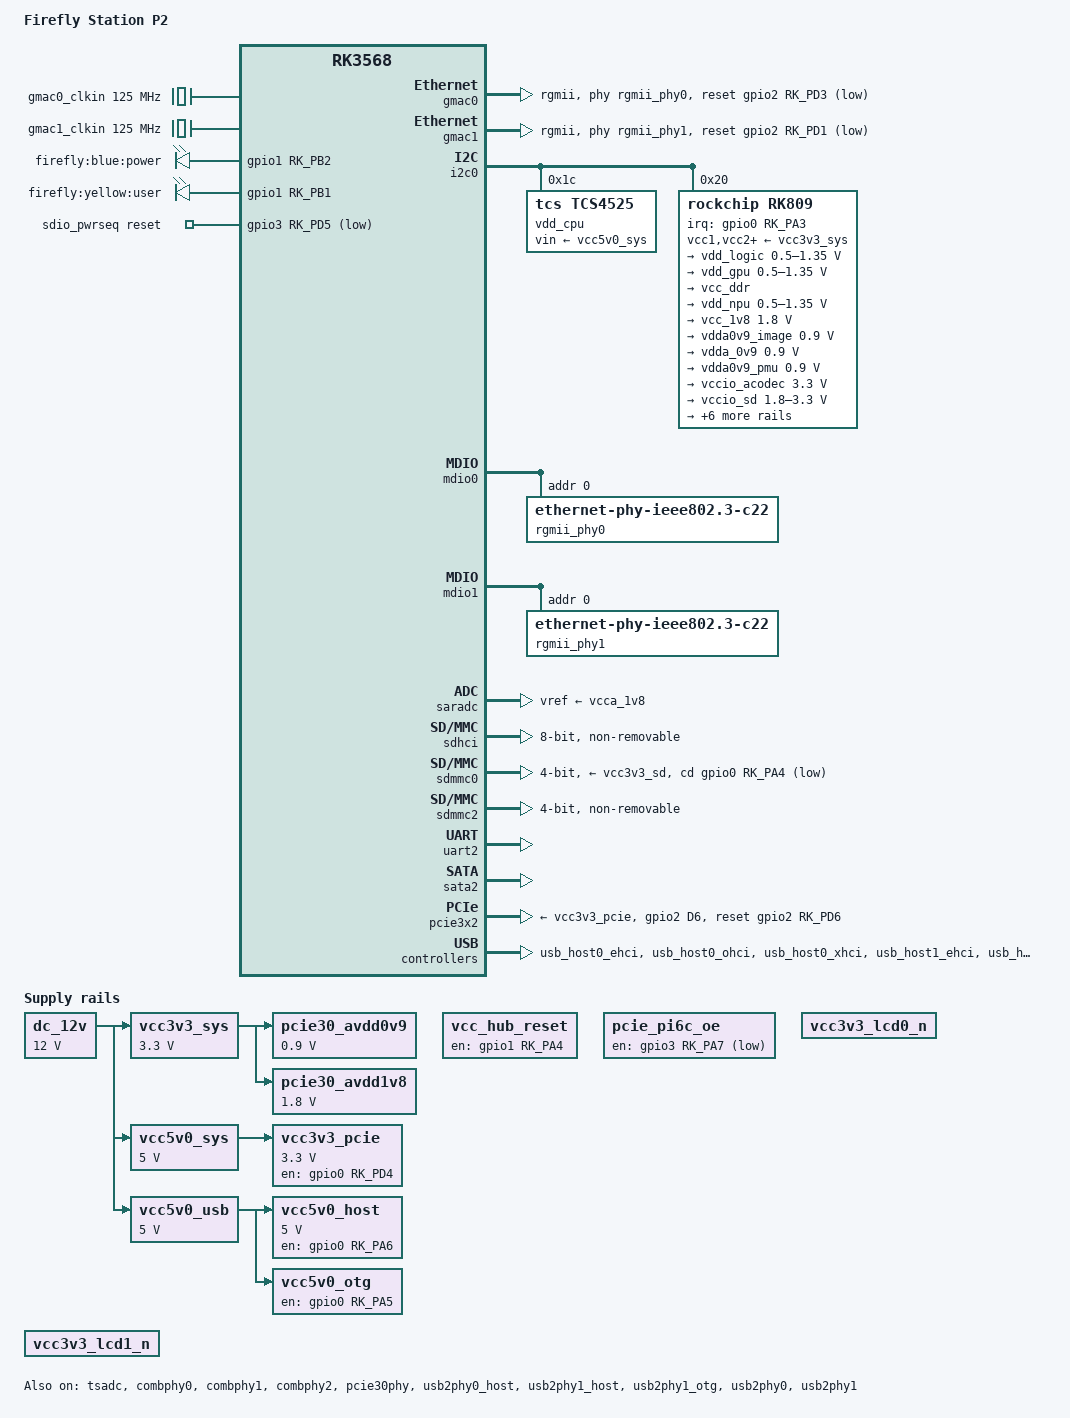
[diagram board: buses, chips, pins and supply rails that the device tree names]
// SPDX-License-Identifier: (GPL-2.0+ OR MIT)
/*
 * Copyright (c) 2021 Rockchip Electronics Co., Ltd.
 *
 */

/dts-v1/;

#include <dt-bindings/gpio/gpio.h>
#include <dt-bindings/leds/common.h>
#include <dt-bindings/pinctrl/rockchip.h>
#include "rk3568.dtsi"

/ {
	model = "Firefly Station P2";
	compatible = "firefly,rk3568-roc-pc", "rockchip,rk3568";

	aliases {
		ethernet0 = &gmac0;
		ethernet1 = &gmac1;
		mmc0 = &sdmmc0;
		mmc1 = &sdhci;
	};

	chosen: chosen {
		stdout-path = "serial2:1500000n8";
	};

	gmac0_clkin: external-gmac0-clock {
		compatible = "fixed-clock";
		clock-frequency = <125000000>;
		clock-output-names = "gmac0_clkin";
		#clock-cells = <0>;
	};

	gmac1_clkin: external-gmac1-clock {
		compatible = "fixed-clock";
		clock-frequency = <125000000>;
		clock-output-names = "gmac1_clkin";
		#clock-cells = <0>;
	};

	leds {
		compatible = "gpio-leds";

		power_led: power {
			label = "firefly:blue:power";
			linux,default-trigger = "ir-power-click";
			default-state = "on";
			gpios = <&gpio1 RK_PB2 GPIO_ACTIVE_HIGH>;
			pinctrl-names = "default";
			pinctrl-0 = <&led_power>;
		};

		user_led: user {
			label = "firefly:yellow:user";
			linux,default-trigger = "ir-user-click";
			default-state = "off";
			gpios = <&gpio1 RK_PB1 GPIO_ACTIVE_HIGH>;
			pinctrl-names = "default";
			pinctrl-0 = <&led_user>;
		};
	};

/*
	hdmi-con {
		compatible = "hdmi-connector";
		type = "a";

		port {
			hdmi_con_in: endpoint {
				remote-endpoint = <&hdmi_out_con>;
			};
		};
	};
*/

	sdio_pwrseq: sdio-pwrseq {
		status = "okay";
		compatible = "mmc-pwrseq-simple";
		clocks = <&rk809 1>;
		clock-names = "ext_clock";
		pinctrl-names = "default";
		pinctrl-0 = <&wifi_enable_h>;
		reset-gpios = <&gpio3 RK_PD5 GPIO_ACTIVE_LOW>;
		post-power-on-delay-ms = <100>;
	};

	dc_12v: dc-12v {
		compatible = "regulator-fixed";
		regulator-name = "dc_12v";
		regulator-always-on;
		regulator-boot-on;
		regulator-min-microvolt = <12000000>;
		regulator-max-microvolt = <12000000>;
	};

	vcc3v3_sys: vcc3v3-sys {
		compatible = "regulator-fixed";
		regulator-name = "vcc3v3_sys";
		regulator-always-on;
		regulator-boot-on;
		regulator-min-microvolt = <3300000>;
		regulator-max-microvolt = <3300000>;
		vin-supply = <&dc_12v>;
	};

	vcc5v0_sys: vcc5v0-sys {
		compatible = "regulator-fixed";
		regulator-name = "vcc5v0_sys";
		regulator-always-on;
		regulator-boot-on;
		regulator-min-microvolt = <5000000>;
		regulator-max-microvolt = <5000000>;
		vin-supply = <&dc_12v>;
	};

	vcc5v0_usb: vcc5v0-usb {
		compatible = "regulator-fixed";
		regulator-name = "vcc5v0_usb";
		regulator-always-on;
		regulator-boot-on;
		regulator-min-microvolt = <5000000>;
		regulator-max-microvolt = <5000000>;
		vin-supply = <&dc_12v>;
	};

	pcie30_avdd0v9: pcie30-avdd0v9 {
		compatible = "regulator-fixed";
		regulator-name = "pcie30_avdd0v9";
		regulator-always-on;
		regulator-boot-on;
		regulator-min-microvolt = <900000>;
		regulator-max-microvolt = <900000>;
		vin-supply = <&vcc3v3_sys>;
	};

	pcie30_avdd1v8: pcie30-avdd1v8 {
		compatible = "regulator-fixed";
		regulator-name = "pcie30_avdd1v8";
		regulator-always-on;
		regulator-boot-on;
		regulator-min-microvolt = <1800000>;
		regulator-max-microvolt = <1800000>;
		vin-supply = <&vcc3v3_sys>;
	};

	vcc3v3_pcie: vcc3v3_pi6c: vcc3v3-pcie {
		compatible = "regulator-fixed";
		regulator-always-on;
		enable-active-high;
		gpio = <&gpio0 RK_PD4 GPIO_ACTIVE_HIGH>;
		pinctrl-names = "default";
		pinctrl-0 = <&pcie_enable_h>;
		regulator-name = "vcc3v3_pcie";
		regulator-min-microvolt = <3300000>;
		regulator-max-microvolt = <3300000>;
		vin-supply = <&vcc5v0_sys>;
	};

	vcc5v0_host: vcc5v0-host {
		compatible = "regulator-fixed";
		regulator-name = "vcc5v0_host";
		enable-active-high;
		gpio = <&gpio0 RK_PA6 GPIO_ACTIVE_HIGH>;
		pinctrl-names = "default";
		pinctrl-0 = <&vcc5v0_host_en>;
		regulator-always-on;
		regulator-min-microvolt = <5000000>;
		regulator-max-microvolt = <5000000>;
		vin-supply = <&vcc5v0_usb>;
	};

	vcc5v0_otg: vcc5v0-otg {
		compatible = "regulator-fixed";
		regulator-name = "vcc5v0_otg";
		enable-active-high;
		gpio = <&gpio0 RK_PA5 GPIO_ACTIVE_HIGH>;
		pinctrl-names = "default";
		pinctrl-0 = <&vcc5v0_otg_en>;
		vin-supply = <&vcc5v0_usb>;
	};
	
	vcc_hub_reset: vcc-hub-reset {
		compatible = "regulator-fixed";
		regulator-name = "vcc_hub_reset";
		enable-active-high;
		gpio = <&gpio1 RK_PA4 GPIO_ACTIVE_HIGH>;
		pinctrl-names = "default";
		pinctrl-0 = <&vcc_hub_reset_en>;
		regulator-always-on;
	};

	pcie_pi6c_oe: pcie-pi6c-oe {
		compatible = "regulator-fixed";
		regulator-name = "pcie_pi6c_oe_en";
		gpio = <&gpio3 RK_PA7 GPIO_ACTIVE_LOW>;
		pinctrl-names = "default";
		pinctrl-0 = <&pcie_pi6c_oe_en>;
		regulator-always-on;
	};

	vcc3v3_lcd0_n: vcc3v3-lcd0-n {
		compatible = "regulator-fixed";
		regulator-name = "vcc3v3_lcd0_n";
		regulator-boot-on;

		regulator-state-mem {
			regulator-off-in-suspend;
		};
	};

	vcc3v3_lcd1_n: vcc3v3-lcd1-n {
		compatible = "regulator-fixed";
		regulator-name = "vcc3v3_lcd1_n";
		regulator-boot-on;

		regulator-state-mem {
			regulator-off-in-suspend;
		};
	};
};

&gmac0 {
	phy-mode = "rgmii";
	clock_in_out = "input";

	snps,reset-gpio = <&gpio2 RK_PD3 GPIO_ACTIVE_LOW>;
	snps,reset-active-low;
	/* Reset time is 20ms, 100ms for rtl8211f */
	snps,reset-delays-us = <0 20000 100000>;

	assigned-clocks = <&cru SCLK_GMAC0_RX_TX>, <&cru SCLK_GMAC0>;
	assigned-clock-parents = <&cru SCLK_GMAC0_RGMII_SPEED>, <&gmac0_clkin>;

	pinctrl-names = "default";
	pinctrl-0 = <&gmac0_miim
		     &gmac0_tx_bus2
		     &gmac0_rx_bus2
		     &gmac0_rgmii_clk
		     &gmac0_rgmii_bus
		     &gmac0_clkinout>;

	tx_delay = <0x3c>;
	rx_delay = <0x2f>;

	phy-handle = <&rgmii_phy0>;
	status = "okay";
};

&gmac1 {
	phy-mode = "rgmii";
	clock_in_out = "input";

	snps,reset-gpio = <&gpio2 RK_PD1 GPIO_ACTIVE_LOW>;
	snps,reset-active-low;
	/* Reset time is 20ms, 100ms for rtl8211f */
	snps,reset-delays-us = <0 20000 100000>;

	assigned-clocks = <&cru SCLK_GMAC1_RX_TX>, <&cru SCLK_GMAC1>;
	assigned-clock-parents = <&cru SCLK_GMAC1_RGMII_SPEED>, <&gmac1_clkin>;

	pinctrl-names = "default";
	pinctrl-0 = <&gmac1m1_miim
		     &gmac1m1_tx_bus2
		     &gmac1m1_rx_bus2
		     &gmac1m1_rgmii_clk
		     &gmac1m1_rgmii_bus
		     &gmac1m1_clkinout>;

	tx_delay = <0x4f>;
	rx_delay = <0x26>;

	phy-handle = <&rgmii_phy1>;
	status = "okay";
};

/*
&hdmi {
	status = "okay";
	avdd-0v9-supply = <&vdda0v9_image>;
	avdd-1v8-supply = <&vcca1v8_image>;
};
*/

&i2c0 {
	status = "okay";

	vdd_cpu: regulator@1c {
		compatible = "tcs,tcs4525";
		reg = <0x1c>;
		fcs,suspend-voltage-selector = <1>;
		regulator-name = "vdd_cpu";
		regulator-always-on;
		regulator-boot-on;
		regulator-min-microvolt = <800000>;
		regulator-max-microvolt = <1150000>;
		regulator-ramp-delay = <2300>;
		vin-supply = <&vcc5v0_sys>;

		regulator-state-mem {
			regulator-off-in-suspend;
		};
	};

	rk809: pmic@20 {
		compatible = "rockchip,rk809";
		reg = <0x20>;
		interrupt-parent = <&gpio0>;
		interrupts = <RK_PA3 IRQ_TYPE_LEVEL_LOW>;
		assigned-clocks = <&cru I2S1_MCLKOUT_TX>;
		assigned-clock-parents = <&cru CLK_I2S1_8CH_TX>;
		#clock-cells = <1>;
		clock-names = "mclk";
		clocks = <&cru I2S1_MCLKOUT_TX>;
		pinctrl-names = "default";
		pinctrl-0 = <&pmic_int>;
		rockchip,system-power-controller;
		#sound-dai-cells = <0>;
		vcc1-supply = <&vcc3v3_sys>;
		vcc2-supply = <&vcc3v3_sys>;
		vcc3-supply = <&vcc3v3_sys>;
		vcc4-supply = <&vcc3v3_sys>;
		vcc5-supply = <&vcc3v3_sys>;
		vcc6-supply = <&vcc3v3_sys>;
		vcc7-supply = <&vcc3v3_sys>;
		vcc8-supply = <&vcc3v3_sys>;
		vcc9-supply = <&vcc3v3_sys>;
		wakeup-source;

		regulators {
			vdd_logic: DCDC_REG1 {
				regulator-name = "vdd_logic";
				regulator-always-on;
				regulator-boot-on;
				regulator-init-microvolt = <900000>;
				regulator-initial-mode = <0x2>;
				regulator-min-microvolt = <500000>;
				regulator-max-microvolt = <1350000>;
				regulator-ramp-delay = <6001>;

				regulator-state-mem {
					regulator-off-in-suspend;
				};
			};

			vdd_gpu: DCDC_REG2 {
				regulator-name = "vdd_gpu";
				regulator-always-on;
				regulator-init-microvolt = <900000>;
				regulator-initial-mode = <0x2>;
				regulator-min-microvolt = <500000>;
				regulator-max-microvolt = <1350000>;
				regulator-ramp-delay = <6001>;

				regulator-state-mem {
					regulator-off-in-suspend;
				};
			};

			vcc_ddr: DCDC_REG3 {
				regulator-name = "vcc_ddr";
				regulator-always-on;
				regulator-boot-on;
				regulator-initial-mode = <0x2>;

				regulator-state-mem {
					regulator-on-in-suspend;
				};
			};

			vdd_npu: DCDC_REG4 {
				regulator-name = "vdd_npu";
				regulator-init-microvolt = <900000>;
				regulator-initial-mode = <0x2>;
				regulator-min-microvolt = <500000>;
				regulator-max-microvolt = <1350000>;
				regulator-ramp-delay = <6001>;

				regulator-state-mem {
					regulator-off-in-suspend;
				};
			};

			vcc_1v8: DCDC_REG5 {
				regulator-name = "vcc_1v8";
				regulator-always-on;
				regulator-boot-on;
				regulator-min-microvolt = <1800000>;
				regulator-max-microvolt = <1800000>;

				regulator-state-mem {
					regulator-off-in-suspend;
				};
			};

			vdda0v9_image: LDO_REG1 {
				regulator-name = "vdda0v9_image";
				regulator-min-microvolt = <900000>;
				regulator-max-microvolt = <900000>;

				regulator-state-mem {
					regulator-off-in-suspend;
				};
			};

			vdda_0v9: LDO_REG2 {
				regulator-name = "vdda_0v9";
				regulator-always-on;
				regulator-boot-on;
				regulator-min-microvolt = <900000>;
				regulator-max-microvolt = <900000>;

				regulator-state-mem {
					regulator-off-in-suspend;
				};
			};

			vdda0v9_pmu: LDO_REG3 {
				regulator-name = "vdda0v9_pmu";
				regulator-always-on;
				regulator-boot-on;
				regulator-min-microvolt = <900000>;
				regulator-max-microvolt = <900000>;

				regulator-state-mem {
					regulator-on-in-suspend;
					regulator-suspend-microvolt = <900000>;
				};
			};

			vccio_acodec: LDO_REG4 {
				regulator-name = "vccio_acodec";
				regulator-always-on;
				regulator-min-microvolt = <3300000>;
				regulator-max-microvolt = <3300000>;

				regulator-state-mem {
					regulator-off-in-suspend;
				};
			};

			vccio_sd: LDO_REG5 {
				regulator-name = "vccio_sd";
				regulator-min-microvolt = <1800000>;
				regulator-max-microvolt = <3300000>;

				regulator-state-mem {
					regulator-off-in-suspend;
				};
			};

			vcc3v3_pmu: LDO_REG6 {
				regulator-name = "vcc3v3_pmu";
				regulator-always-on;
				regulator-boot-on;
				regulator-min-microvolt = <3300000>;
				regulator-max-microvolt = <3300000>;

				regulator-state-mem {
					regulator-on-in-suspend;
					regulator-suspend-microvolt = <3300000>;
				};
			};

			vcca_1v8: LDO_REG7 {
				regulator-name = "vcca_1v8";
				regulator-always-on;
				regulator-boot-on;
				regulator-min-microvolt = <1800000>;
				regulator-max-microvolt = <1800000>;

				regulator-state-mem {
					regulator-off-in-suspend;
				};
			};

			vcca1v8_pmu: LDO_REG8 {
				regulator-name = "vcca1v8_pmu";
				regulator-always-on;
				regulator-boot-on;
				regulator-min-microvolt = <1800000>;
				regulator-max-microvolt = <1800000>;

				regulator-state-mem {
					regulator-on-in-suspend;
					regulator-suspend-microvolt = <1800000>;
				};
			};

			vcca1v8_image: LDO_REG9 {
				regulator-name = "vcca1v8_image";
				regulator-min-microvolt = <1800000>;
				regulator-max-microvolt = <1800000>;

				regulator-state-mem {
					regulator-off-in-suspend;
				};
			};

			vcc_3v3: SWITCH_REG1 {
				regulator-name = "vcc_3v3";
				regulator-always-on;
				regulator-boot-on;

				regulator-state-mem {
					regulator-off-in-suspend;
				};
			};

			vcc3v3_sd: SWITCH_REG2 {
				regulator-name = "vcc3v3_sd";

				regulator-state-mem {
					regulator-off-in-suspend;
				};
			};
		};
	};
};

&mdio0 {
	rgmii_phy0: phy@0 {
		compatible = "ethernet-phy-ieee802.3-c22";
		reg = <0x0>;
	};
};

&mdio1 {
	rgmii_phy1: phy@0 {
		compatible = "ethernet-phy-ieee802.3-c22";
		reg = <0x0>;
	};
};

&pinctrl {
	leds {
		led_power: led-power {
			rockchip,pins = <1 RK_PB2 RK_FUNC_GPIO &pcfg_pull_none>;
		};

		led_user: led-user {
			rockchip,pins = <1 RK_PB1 RK_FUNC_GPIO &pcfg_pull_none>;
		};
	};

	sdio-pwrseq {
		wifi_enable_h: wifi-enable-h {
			rockchip,pins = <3 RK_PD5 RK_FUNC_GPIO &pcfg_pull_none>;
		};
	};

	usb {
		vcc5v0_host_en: vcc5v0-host-en {
			rockchip,pins = <0 RK_PA6 RK_FUNC_GPIO &pcfg_pull_none>;
		};
		vcc5v0_otg_en: vcc5v0-otg-en {
			rockchip,pins = <0 RK_PA5 RK_FUNC_GPIO &pcfg_pull_none>;
		};
		vcc_hub_reset_en: vcc-hub-reset-en {
			rockchip,pins = <1 RK_PA4 RK_FUNC_GPIO &pcfg_pull_none>;
		};
	};

	fusb0_int {
		fusb0_int: fusb0-int {
			rockchip,pins = <0 RK_PC1 RK_FUNC_GPIO &pcfg_pull_up>;
		};
	};


	pcie {
		pcie_enable_h: pcie-enable-h {
			rockchip,pins = <0 RK_PD4 RK_FUNC_GPIO &pcfg_pull_none>;
		};

		pcie_reset_h: pcie-reset-h {
			rockchip,pins = <2 RK_PD6 RK_FUNC_GPIO &pcfg_pull_none>;
		};

		pcie_pi6c_oe_en: pcie-pi6c-oe-en {
			rockchip,pins = <3 RK_PA7 RK_FUNC_GPIO &pcfg_pull_none>;
		};
	};

	pmic {
		pmic_int: pmic_int {
			rockchip,pins =
				<0 RK_PA3 RK_FUNC_GPIO &pcfg_pull_up>;
		};
	};
};

/*
&i2s0_8ch {
	status = "okay";
};
*/

&pmu_io_domains {
	pmuio1-supply = <&vcc3v3_pmu>;
	pmuio2-supply = <&vcc3v3_pmu>;
	vccio1-supply = <&vccio_acodec>;
	vccio2-supply = <&vcc_1v8>;
	vccio3-supply = <&vccio_sd>;
	vccio4-supply = <&vcc_1v8>;
	vccio5-supply = <&vcc_3v3>;
	vccio6-supply = <&vcc_1v8>;
	vccio7-supply = <&vcc_3v3>;
	status = "okay";
};

&saradc {
	vref-supply = <&vcca_1v8>;
	status = "okay";
};

&sdhci {
	bus-width = <8>;
	max-frequency = <200000000>;
	non-removable;
	pinctrl-names = "default";
	pinctrl-0 = <&emmc_bus8 &emmc_clk &emmc_cmd &emmc_datastrobe>;
	status = "okay";
};

&sdmmc0 {
	bus-width = <4>;
	cap-sd-highspeed;
	cd-gpios = <&gpio0 RK_PA4 GPIO_ACTIVE_LOW>;
	disable-wp;
	pinctrl-names = "default";
	pinctrl-0 = <&sdmmc0_bus4 &sdmmc0_clk &sdmmc0_cmd &sdmmc0_det>;
	sd-uhs-sdr104;
	vmmc-supply = <&vcc3v3_sd>;
	vqmmc-supply = <&vccio_sd>;
	status = "okay";
};

&sdmmc2 {
	max-frequency = <150000000>;
	supports-sdio;
	bus-width = <4>;
	disable-wp;
	cap-sd-highspeed;
	cap-sdio-irq;
	keep-power-in-suspend;
	pinctrl-names = "default";
	pinctrl-0 = <&sdmmc2m0_bus4 &sdmmc2m0_cmd &sdmmc2m0_clk>;
	sd-uhs-sdr104;
	mmc-pwrseq = <&sdio_pwrseq>;
	non-removable;
	status = "okay";
};

&tsadc {
        status = "okay";
};

&uart2 {
	status = "okay";
};

/*
&vop {
	status = "okay";
	assigned-clocks = <&cru DCLK_VOP0>, <&cru DCLK_VOP1>;
	assigned-clock-parents = <&pmucru PLL_HPLL>, <&cru PLL_VPLL>;
};

&vop_mmu {
	status = "okay";
};

&hdmi_in {
	hdmi_in_vp0: endpoint@0 {
		reg = <0>;
		remote-endpoint = <&vp0_out_hdmi>;
	};
};

&vp0 {
        vp0_out_hdmi: endpoint@ROCKCHIP_VOP2_EP_HDMI0 {
                reg = <ROCKCHIP_VOP2_EP_HDMI0>;
                remote-endpoint = <&hdmi_in_vp0>;
        };
};

&hdmi_out {
	hdmi_out_con: endpoint {
		remote-endpoint = <&hdmi_con_in>;
	};
};

&hdmi_sound {
	status = "okay";
};

*/

&cpu0 {
	cpu-supply = <&vdd_cpu>;
};

&cpu1 {
	cpu-supply = <&vdd_cpu>;
};

&cpu2 {
	cpu-supply = <&vdd_cpu>;
};

&cpu3 {
	cpu-supply = <&vdd_cpu>;
};

/*
&gpu {
	mali-supply = <&vdd_gpu>;
	status = "okay";
};
*/

&combphy0 {
	status = "okay";
};

&combphy1 {
	status = "okay";
};

&combphy2 {
	status = "okay";
};

&sata2 {
	status = "okay";
};

&pcie30phy {
	status = "okay";
};

&pcie3x2{
	pinctrl-names = "default";
	pinctrl-0 = <&pcie_reset_h>;
	reset-gpios = <&gpio2 RK_PD6 GPIO_ACTIVE_HIGH>;
	vpcie3v3-supply = <&vcc3v3_pcie>;
	status = "okay";
};

&usb2phy0_host {
	phy-supply = <&vcc5v0_host>;
	status = "okay";
};

&usb2phy1_host {
	phy-supply = <&vcc5v0_host>;
	status = "okay";
};

&usb2phy1_otg {
	phy-supply = <&vcc5v0_host>;
	status = "okay";
};

&usb2phy0 {
	status = "okay";
};

&usb2phy1 {
	status = "okay";
};

&usb_host0_ehci {
	status = "okay";
};

&usb_host0_ohci {
	status = "okay";
};

&usb_host0_xhci {
	extcon = <&usb2phy0>;
	status = "okay";
};

&usb_host1_ehci {
	status = "okay";
};

&usb_host1_ohci {
	status = "okay";
};

&usb_host1_xhci {
	status = "okay";
};
